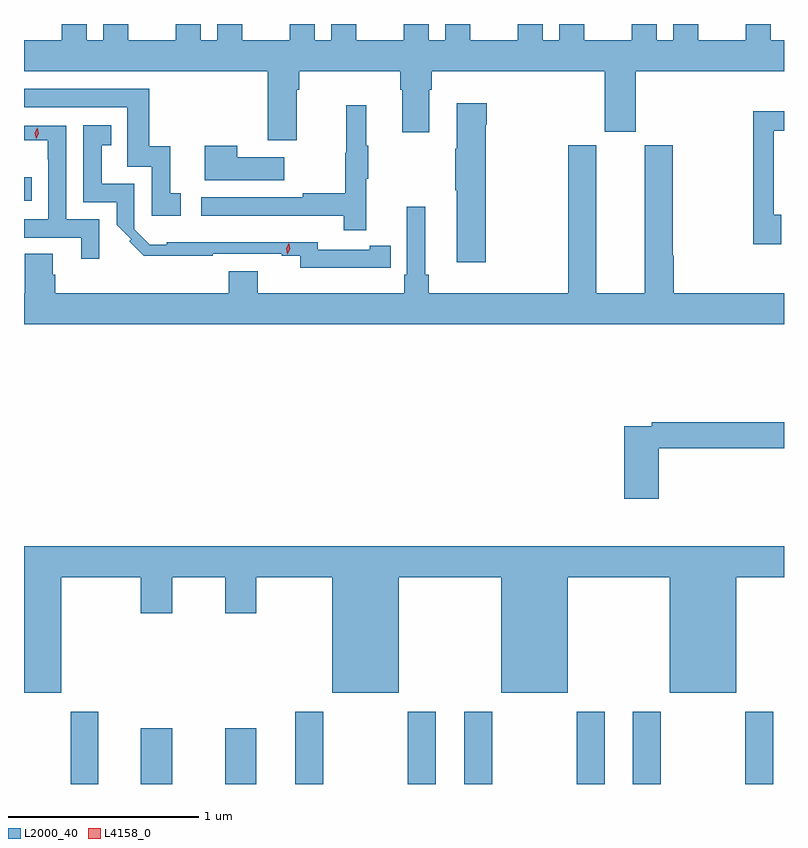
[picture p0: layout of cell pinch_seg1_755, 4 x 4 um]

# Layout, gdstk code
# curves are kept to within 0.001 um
import gdstk
lib = gdstk.Library(unit=1e-6, precision=1e-09)
def R(c, l, rs):  # rectangles x0, y0, x1, y1
    for r in rs: c.add(gdstk.rectangle(r[:2], r[2:], *l))
def A(c, l, x, y, w, h, nx, ny, dx, dy):  # array of equal rectangles
    R(c, l, [(x+i*dx, y+j*dy, x+i*dx+w, y+j*dy+h) for i in range(nx) for j in range(ny)])
def P(c, l, *ps):  # polygons
    for p in ps: c.add(gdstk.Polygon(p, *l))
L2000_40 = (2000, 40)
L4158_0 = (4158, 0)

pinch_seg1_755 = lib.new_cell('pinch_seg1_755')
A(pinch_seg1_755, L2000_40, 865.343, 501.361, 0.148, 0.381, 3, 1, 0.888, 0)
A(pinch_seg1_755, L2000_40, 865.936, 501.361, 0.147, 0.381, 3, 1, 0.888, 0)
R(pinch_seg1_755, L2000_40, [(864.16,501.361,864.307,501.742), (864.53,501.361,864.694,501.655), (864.974,501.361,865.138,501.655), (863.915,504.432,863.957,504.555)])
P(pinch_seg1_755, L2000_40, [(867.915,505.276),(867.844,505.276),(867.844,505.361),(867.713,505.361),(867.713,505.276),(867.463,505.276),(867.463,505.361),(867.332,505.361),(867.332,505.276),(867.244,505.276),(867.244,505.361),(867.113,505.361),(867.113,505.276),(866.863,505.276),(866.863,505.361),(866.732,505.361),(866.732,505.276),(866.644,505.276),(866.644,505.361),(866.513,505.361),(866.513,505.276),(866.263,505.276),(866.263,505.361),(866.132,505.361),(866.132,505.276),(866.044,505.276),(866.044,505.361),(865.913,505.361),(865.913,505.276),(865.663,505.276),(865.663,505.361),(865.532,505.361),(865.532,505.276),(865.444,505.276),(865.444,505.361),(865.313,505.361),(865.313,505.276),(865.063,505.276),(865.063,505.361),(864.932,505.361),(864.932,505.276),(864.844,505.276),(864.844,505.361),(864.713,505.361),(864.713,505.276),(864.463,505.276),(864.463,505.361),(864.332,505.361),(864.332,505.276),(864.244,505.276),(864.244,505.361),(864.113,505.361),(864.113,505.276),(863.915,505.276),(863.915,505.112),(865.199,505.112),(865.199,504.75),(865.351,504.75),(865.351,505.016),(865.364,505.016),(865.364,505.112),(865.895,505.112),(865.895,505.016),(865.907,505.016),(865.907,504.792),(866.047,504.792),(866.047,505.016),(866.06,505.016),(866.06,505.112),(866.972,505.112),(866.972,504.795),(867.136,504.795),(867.136,505.112),(867.915,505.112)],
  [(864.739,504.471),(864.686,504.471),(864.686,504.718),(864.575,504.718),(864.575,505.02),(863.915,505.02),(863.915,504.924),(864.459,504.924),(864.459,504.609),(864.588,504.609),(864.588,504.351),(864.739,504.351)],
  [(866.346,504.83),(866.351,504.83),(866.351,504.943),(866.192,504.943),(866.192,504.704),(866.185,504.704),(866.185,504.487),(866.192,504.487),(866.192,504.108),(866.346,504.108)],
  [(865.715,504.547),(865.726,504.547),(865.726,504.721),(865.715,504.721),(865.715,504.934),(865.612,504.934),(865.612,504.684),(865.605,504.684),(865.605,504.47),(865.381,504.47),(865.381,504.45),(864.849,504.45),(864.849,504.353),(865.597,504.353),(865.597,504.276),(865.715,504.276)],
  [(867.901,504.357),(867.861,504.357),(867.861,504.798),(867.915,504.798),(867.915,504.901),(867.753,504.901),(867.753,504.201),(867.901,504.201)],
  [(865.736,504.078),(865.844,504.078),(865.844,504.194),(865.736,504.194),(865.736,504.174),(865.461,504.174),(865.461,504.212),(864.665,504.212),(864.665,504.199),(864.577,504.199),(864.495,504.281),(864.495,504.519),(864.325,504.519),(864.325,504.723),(864.374,504.723),(864.374,504.829),(864.228,504.829),(864.228,504.423),(864.402,504.423),(864.402,504.304),(864.479,504.227),(864.469,504.217),(864.546,504.14),(864.908,504.14),(864.908,504.153),(865.271,504.153),(865.271,504.14),(865.368,504.14),(865.368,504.077)],
  [(864.312,504.333),(864.138,504.333),(864.138,504.825),(863.915,504.825),(863.915,504.749),(864.041,504.749),(864.041,504.649),(864.042,504.649),(864.042,504.333),(863.915,504.333),(863.915,504.237),(864.215,504.237),(864.215,504.126),(864.312,504.126)],
  [(867.915,503.944),(867.335,503.944),(867.335,504.14),(867.33,504.14),(867.33,504.723),(867.182,504.723),(867.182,503.944),(866.926,503.944),(866.926,504.723),(866.779,504.723),(866.779,503.944),(866.045,503.944),(866.045,504.04),(866.026,504.04),(866.026,504.4),(865.929,504.4),(865.929,504.04),(865.916,504.04),(865.916,503.944),(865.144,503.944),(865.144,504.061),(864.992,504.061),(864.992,503.944),(864.08,503.944),(864.08,504.042),(864.067,504.042),(864.067,504.152),(863.92,504.152),(863.92,503.944),(863.915,503.944),(863.915,503.78),(867.915,503.78)],
  [(865.285,504.661),(865.037,504.661),(865.037,504.721),(864.866,504.721),(864.866,504.539),(865.285,504.539)],
  [(867.257,503.128),(867.915,503.128),(867.915,503.264),(867.22,503.264),(867.22,503.244),(867.074,503.244),(867.074,502.863),(867.257,502.863)],
  [(864.112,502.448),(864.53,502.448),(864.53,502.26),(864.694,502.26),(864.694,502.448),(864.974,502.448),(864.974,502.26),(865.138,502.26),(865.138,502.448),(865.538,502.448),(865.538,501.842),(865.888,501.842),(865.888,502.448),(866.426,502.448),(866.426,501.842),(866.776,501.842),(866.776,502.448),(867.314,502.448),(867.314,501.842),(867.664,501.842),(867.664,502.448),(867.915,502.448),(867.915,502.612),(863.915,502.612),(863.915,501.842),(864.112,501.842)])
P(pinch_seg1_755, L4158_0, [(865.301,504.148),(865.301,504.149),(865.295,504.18),(865.308,504.208),(865.308,504.209),(865.309,504.208),(865.315,504.177),(865.301,504.149)],
  [(863.98,504.756),(863.98,504.756),(863.972,504.787),(863.984,504.816),(863.985,504.816),(863.985,504.816),(863.992,504.785),(863.98,504.756)])

lib.write_gds('pinch_seg1_755.gds')
